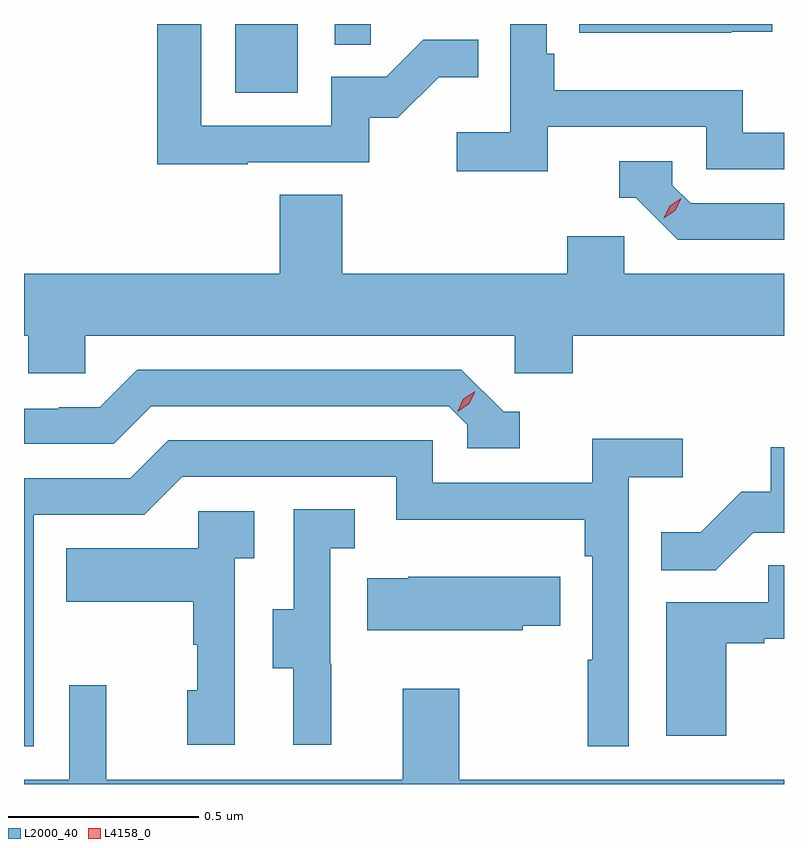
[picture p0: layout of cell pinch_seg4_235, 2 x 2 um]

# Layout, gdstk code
import gdstk
lib = gdstk.Library(unit=1e-6, precision=1e-09)
def R(c, l, rs):  # rectangles x0, y0, x1, y1
    for r in rs: c.add(gdstk.rectangle(r[:2], r[2:], *l))
def P(c, l, *ps):  # polygons
    for p in ps: c.add(gdstk.Polygon(p, *l))
L2000_40 = (2000, 40)
L4158_0 = (4158, 0)

pinch_seg4_235 = lib.new_cell('pinch_seg4_235')
R(pinch_seg4_235, L2000_40, [(1012.916,829.428,1013.08,829.609), (1013.178,829.555,1013.273,829.609)])
P(pinch_seg4_235, L2000_40, [(1012.949,829.245),(1013.268,829.245),(1013.268,829.362),(1013.344,829.362),(1013.451,829.469),(1013.555,829.469),(1013.555,829.568),(1013.411,829.568),(1013.313,829.47),(1013.169,829.47),(1013.169,829.341),(1012.827,829.341),(1012.827,829.609),(1012.711,829.609),(1012.711,829.24),(1012.949,829.24)],
  [(1014.221,829.589),(1014.329,829.589),(1014.329,829.609),(1013.821,829.609),(1013.821,829.586),(1014.221,829.586)],
  [(1013.738,829.338),(1014.156,829.338),(1014.156,829.227),(1014.36,829.227),(1014.36,829.323),(1014.252,829.323),(1014.252,829.435),(1013.756,829.435),(1013.756,829.531),(1013.736,829.531),(1013.736,829.609),(1013.64,829.609),(1013.64,829.324),(1013.499,829.324),(1013.499,829.222),(1013.738,829.222)],
  [(1014.36,829.137),(1014.114,829.137),(1014.066,829.185),(1014.066,829.248),(1013.927,829.248),(1013.927,829.152),(1013.97,829.152),(1014.081,829.041),(1014.36,829.041)],
  [(1012.521,828.788),(1013.652,828.788),(1013.652,828.69),(1013.804,828.69),(1013.804,828.788),(1014.36,828.788),(1014.36,828.952),(1013.94,828.952),(1013.94,829.05),(1013.789,829.05),(1013.789,828.952),(1013.198,828.952),(1013.198,829.16),(1013.033,829.16),(1013.033,828.952),(1012.36,828.952),(1012.36,828.788),(1012.371,828.788),(1012.371,828.69),(1012.521,828.69)],
  [(1013.665,828.588),(1013.622,828.588),(1013.511,828.699),(1012.658,828.699),(1012.559,828.6),(1012.452,828.6),(1012.452,828.597),(1012.36,828.597),(1012.36,828.504),(1012.596,828.504),(1012.695,828.603),(1013.478,828.603),(1013.526,828.555),(1013.526,828.492),(1013.665,828.492)],
  [(1012.386,828.318),(1012.677,828.318),(1012.776,828.417),(1013.34,828.417),(1013.34,828.305),(1013.836,828.305),(1013.836,828.209),(1013.856,828.209),(1013.856,827.936),(1013.844,827.936),(1013.844,827.709),(1013.952,827.709),(1013.952,828.416),(1014.094,828.416),(1014.094,828.518),(1013.855,828.518),(1013.855,828.402),(1013.436,828.402),(1013.436,828.513),(1012.739,828.513),(1012.64,828.414),(1012.36,828.414),(1012.36,827.709),(1012.386,827.709)],
  [(1014.279,828.27),(1014.36,828.27),(1014.36,828.495),(1014.325,828.495),(1014.325,828.378),(1014.248,828.378),(1014.141,828.271),(1014.037,828.271),(1014.037,828.172),(1014.181,828.172)],
  [(1013.168,827.925),(1013.166,827.925),(1013.166,828.229),(1013.23,828.229),(1013.23,828.332),(1013.07,828.332),(1013.07,828.069),(1013.015,828.069),(1013.015,827.914),(1013.069,827.914),(1013.069,827.712),(1013.168,827.712)],
  [(1012.914,828.203),(1012.966,828.203),(1012.966,828.327),(1012.818,828.327),(1012.818,828.229),(1012.471,828.229),(1012.471,828.089),(1012.806,828.089),(1012.806,827.975),(1012.816,827.975),(1012.816,827.856),(1012.79,827.856),(1012.79,827.712),(1012.914,827.712)],
  [(1014.208,827.979),(1014.308,827.979),(1014.308,827.991),(1014.36,827.991),(1014.36,828.185),(1014.319,828.185),(1014.319,828.087),(1014.05,828.087),(1014.05,827.736),(1014.208,827.736)],
  [(1013.673,828.025),(1013.771,828.025),(1013.771,828.154),(1013.371,828.154),(1013.371,828.151),(1013.263,828.151),(1013.263,828.014),(1013.673,828.014)],
  [(1014.36,827.62),(1013.505,827.62),(1013.505,827.86),(1013.357,827.86),(1013.357,827.62),(1012.577,827.62),(1012.577,827.869),(1012.479,827.869),(1012.479,827.62),(1012.36,827.62),(1012.36,827.609),(1014.36,827.609)])
P(pinch_seg4_235, L4158_0, [(1014.044,829.098),(1014.044,829.098),(1014.059,829.131),(1014.09,829.151),(1014.09,829.151),(1014.09,829.151),(1014.074,829.118),(1014.044,829.098)],
  [(1013.501,828.589),(1013.501,828.59),(1013.516,828.623),(1013.547,828.643),(1013.547,828.643),(1013.547,828.643),(1013.532,828.61),(1013.501,828.589)])

lib.write_gds('pinch_seg4_235.gds')
